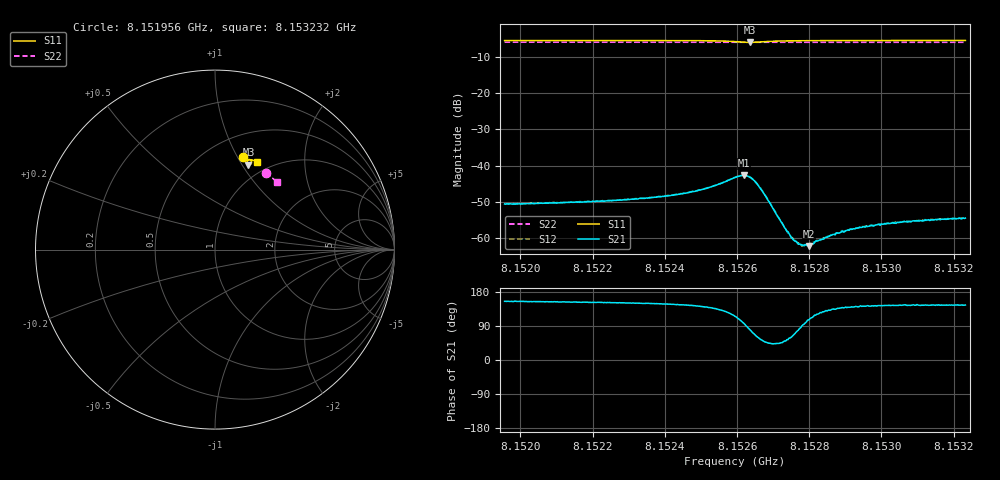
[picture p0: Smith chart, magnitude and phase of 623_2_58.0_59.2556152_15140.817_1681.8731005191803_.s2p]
#  HZ  S  RI  R  50.00
! Rohde & Schwarz Vector Network Analyzer
! Rohde-Schwarz,ZNB20-2Port,1311601062101988,3.16
! Created: UTC 3/21/2024, 1:18:13 AM
! freq[Hz]  re:S11  im:S11  re:S21  im:S21  re:S12  im:S12  re:S22  im:S22
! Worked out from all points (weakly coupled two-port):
!   401 points, 8.151956 GHz to 8.153232 GHz, reference 50 ohm
!   highest |S21| = -42.76 dB at 8.15262 GHz (marker M1); lowest = -62.3 dB at 8.152799 GHz (marker M2)
!   lowest |S11| = -5.9 dB at 8.152636 GHz (marker M3), VSWR 3.08, Z = 41.8 + j53.5 ohm
!   |S11| at or under -10 dB: nowhere
!   |S22| runs from -5.9 to -5.8 dB; largest |S21 - S12| = 0.00013
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8.1519565e9  0.1544 0.5177  -0.00265 0.00124  -0.00263 0.00128  0.284 0.4261
8.1521702e9  0.1697 0.5132  -0.00276 0.00146  -0.00279 0.00146  0.2952 0.4182
8.1523839e9  0.1862 0.5071  -0.00316 0.00194  -0.00318 0.00196  0.3062 0.4099
8.152454e9  0.1925 0.5039  -0.0034 0.00235  -0.00338 0.00238  0.3097 0.407
8.1525051e9  0.1975 0.5001  -0.00362 0.00296  -0.00363 0.00303  0.3122 0.4048
8.1525944e9  0.2032 0.4822  -0.00292 0.00617  -0.00288 0.00623  0.3163 0.4007
8.1526199e9  0.1951 0.4741  -0.000728 0.00725  -0.00067 0.00732  0.3171 0.3994
8.1526359e9  0.1864 0.4741  0.00122 0.00676  0.00132 0.00682  0.3175 0.3991
8.1526486e9  0.1807 0.4784  0.00237 0.00566  0.00241 0.00566  0.3179 0.3988
8.1526646e9  0.178 0.4857  0.00279 0.00395  0.0029 0.00397  0.3188 0.3985
8.1527347e9  0.1891 0.5001  0.000843 0.00101  0.000859 0.00102  0.3227 0.3961
8.1527507e9  0.1916 0.5007  0.000487 0.000868  0.000492 0.00089  0.3237 0.3955
8.1527634e9  0.1935 0.5008  0.000258 0.000848  0.000286 0.000844  0.3242 0.3949
8.1527794e9  0.1957 0.5007  4.52e-06 0.000797  2.47e-05 0.000762  0.3251 0.3942
8.1527985e9  0.1982 0.5008  -0.000206 0.00074  -0.000182 0.000779  0.3261 0.3934
8.1528081e9  0.1992 0.5007  -0.000313 0.000768  -0.000291 0.000774  0.3265 0.3931
8.1528623e9  0.2047 0.4997  -0.000746 0.000786  -0.000761 0.000776  0.3291 0.3906
8.1529102e9  0.2089 0.4986  -0.000958 0.000826  -0.000951 0.000871  0.3314 0.3889
8.1529548e9  0.2125 0.4975  -0.0011 0.000868  -0.00112 0.000917  0.3336 0.3867
8.1530218e9  0.2178 0.4956  -0.00127 0.000917  -0.00126 0.000934  0.3369 0.3841
8.1531079e9  0.224 0.4932  -0.00139 0.00102  -0.00142 0.00102  0.3409 0.3801
8.1532323e9  0.2324 0.4896  -0.00153 0.00107  -0.00152 0.0011  0.3465 0.3748
